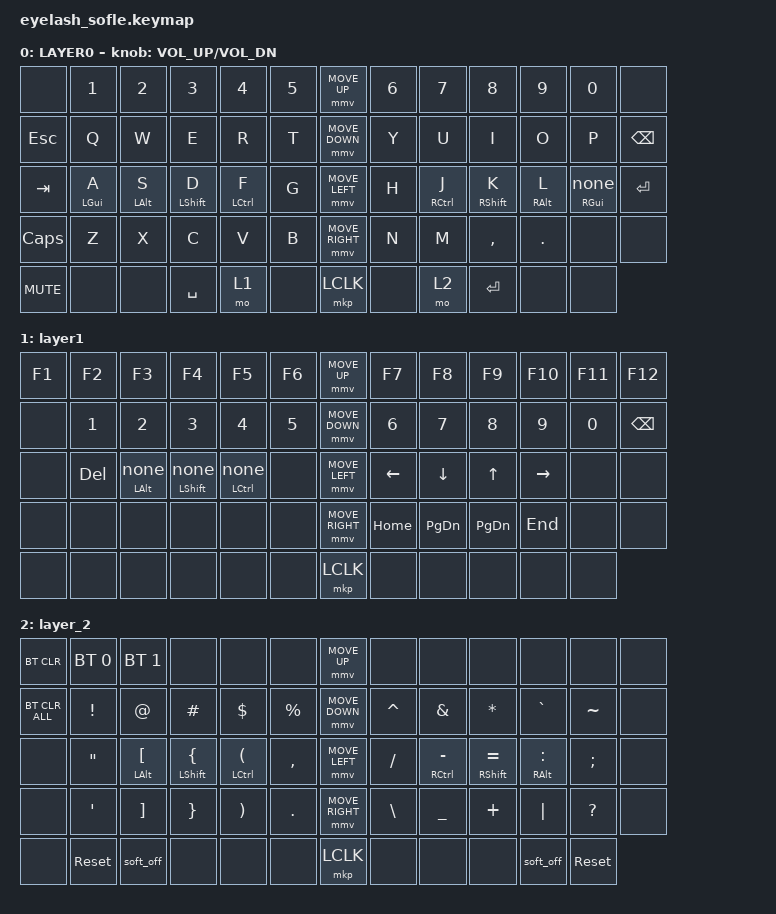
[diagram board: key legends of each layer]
#include <dt-bindings/zmk/mouse.h>
#include <input/processors.dtsi>
#include <behaviors.dtsi>
#include <dt-bindings/zmk/bt.h>
#include <dt-bindings/zmk/keys.h>
#include <dt-bindings/zmk/pointing.h>
#include <dt-bindings/zmk/pointing.h>
#include <dt-bindings/zmk/pointing.h>

/*

   &mmv_input_listener {
       input-processors = <&zip_xy_scaler 2 1>;
   };

   &msc_input_listener {
       input-processors = <&zip_xy_scaler 2 1>;
   };

 */

#define ZMK_MOUSE_DEFAULT_MOVE_VAL 1200  // 600
#define ZMK_MOUSE_DEFAULT_SCRL_VAL 20    // 10

/ {
    behaviors {
        mmv {
            acceleration-exponent = <1>;      // 1
            time-to-max-speed-ms = <900>;    // 40
            delay-ms = <0>;                   // 0
        };

        msc {
            acceleration-exponent = <1>;      // 0
            time-to-max-speed-ms = <400>;      // 500
            delay-ms = <0>;                   //   10
        };
    };

    scroll_encoder: scroll_encoder {
        compatible = "zmk,behavior-sensor-rotate";
        #sensor-binding-cells = <0>;
        bindings = <&msc SCRL_DOWN>, <&msc SCRL_UP>;

        tap-ms = <30>;
    };

    hml: hml {
        compatible = "zmk,behavior-hold-tap";
        label = "HML";
        bindings = <&kp>, <&kp>;

        #binding-cells = <2>;
        hold-trigger-on-release;
        hold-trigger-key-positions = <28 29 30 31 44 27>;
        tapping-term-ms = <230>;
        quick-tap-ms = <175>;
        require-prior-idle-ms = <150>;
        flavor = "balanced";
    };

    hmr: hmr {
        compatible = "zmk,behavior-hold-tap";
        label = "HMR";
        bindings = <&kp>, <&kp>;

        #binding-cells = <2>;
        tapping-term-ms = <230>;
        quick-tap-ms = <175>;
        require-prior-idle-ms = <150>;
        flavor = "balanced";
        hold-trigger-on-release;
        hold-trigger-key-positions = <33 34 35 36 37>;
    };

    khr: khr {
        compatible = "zmk,behavior-hold-tap";
        label = "KHR";
        bindings = <&kp>, <&none>;

        #binding-cells = <2>;
        tapping-term-ms = <230>;
        quick-tap-ms = <175>;
        flavor = "balanced";
        hold-trigger-key-positions = <27 28 29 30 31>;
        hold-trigger-on-release;
        require-prior-idle-ms = <150>;
    };

    khl: khl {
        compatible = "zmk,behavior-hold-tap";
        label = "KHL";
        bindings = <&kp>, <&none>;

        #binding-cells = <2>;
        tapping-term-ms = <230>;
        quick-tap-ms = <75>;
        require-prior-idle-ms = <150>;
        flavor = "balanced";
        hold-trigger-key-positions = <33 34 35 36 37>;
        hold-trigger-on-release;
    };

    keymap {
        compatible = "zmk,keymap";

        layer0 {
            bindings = <
&none       &kp N1           &kp N2           &kp N3             &kp N4               &kp N5    &mmv MOVE_UP     &kp N6  &kp N7                &kp N8              &kp N9            &kp N0            &none
&kp ESCAPE  &kp Q            &kp W            &kp E              &kp R                &kp T     &mmv MOVE_DOWN   &kp Y   &kp U                 &kp I               &kp O             &kp P             &kp BACKSPACE
&kp TAB     &hml LEFT_GUI A  &hml LEFT_ALT S  &hml LEFT_SHIFT D  &hml LEFT_CONTROL F  &kp G     &mmv MOVE_LEFT   &kp H   &hmr RIGHT_CONTROL J  &hmr RIGHT_SHIFT K  &hmr RIGHT_ALT L  &khr RIGHT_GUI 0  &kp ENTER
&kp CAPS    &kp Z            &kp X            &kp C              &kp V                &kp B     &mmv MOVE_RIGHT  &kp N   &kp M                 &kp COMMA           &kp DOT           &none             &none
&kp C_MUTE  &none            &none            &kp SPACE          &mo 1                &none     &mkp LCLK        &none   &mo 2                 &kp ENTER           &none             &none
            >;

            sensor-bindings = <&inc_dec_kp C_VOLUME_UP C_VOL_DN>;
            display-name = "LAYER0";
        };

        layer_1 {
            bindings = <
&kp F1  &kp F2        &kp F3           &kp F4             &kp F5        &kp F6    &mmv MOVE_UP     &kp F7        &kp F8          &kp F9        &kp F10    &kp F11  &kp F12
&none   &kp NUMBER_1  &kp NUMBER_2     &kp NUMBER_3       &kp NUMBER_4  &kp N5    &mmv MOVE_DOWN   &kp NUMBER_6  &kp N7          &kp N8        &kp N9     &kp N0   &kp BACKSPACE
&none   &kp DELETE    &khl LEFT_ALT 0  &khl LEFT_SHIFT 0  &khl LCTRL 0  &none     &mmv MOVE_LEFT   &kp LEFT      &kp DOWN_ARROW  &kp UP_ARROW  &kp RIGHT  &none    &none
&none   &none         &none            &none              &none         &none     &mmv MOVE_RIGHT  &kp HOME      &kp PAGE_DOWN   &kp PG_DN     &kp END    &none    &none
&none   &none         &none            &none              &none         &none     &mkp LCLK        &none         &none           &none         &none      &none
            >;

            display-name = "layer1";
        };

        layer_2 {
            bindings = <
&bt BT_CLR      &bt BT_SEL 0  &bt BT_SEL 1        &none                       &none            &none        &mmv MOVE_UP     &none      &none             &none                   &none                 &none       &none
&bt BT_CLR_ALL  &kp EXCL      &kp AT              &kp HASH                    &kp DLLR         &kp PRCNT    &mmv MOVE_DOWN   &kp CARET  &kp AMPS          &kp STAR                &kp GRAVE             &kp TILDE   &none
&none           &kp DQT       &hml LEFT_ALT LBKT  &hml LEFT_SHIFT LEFT_BRACE  &hml LCTRL LPAR  &kp COMMA    &mmv MOVE_LEFT   &kp FSLH   &hmr RCTRL MINUS  &hmr RIGHT_SHIFT EQUAL  &hmr RIGHT_ALT COLON  &kp SEMI    &none
&none           &kp SQT       &kp RBKT            &kp RBRC                    &kp RPAR         &kp DOT      &mmv MOVE_RIGHT  &kp BSLH   &kp UNDER         &kp PLUS                &kp PIPE              &kp QMARK   &none
&none           &sys_reset    &soft_off           &none                       &none            &none        &mkp LCLK        &none      &none             &none                   &soft_off             &sys_reset
            >;
        };
    };
};
